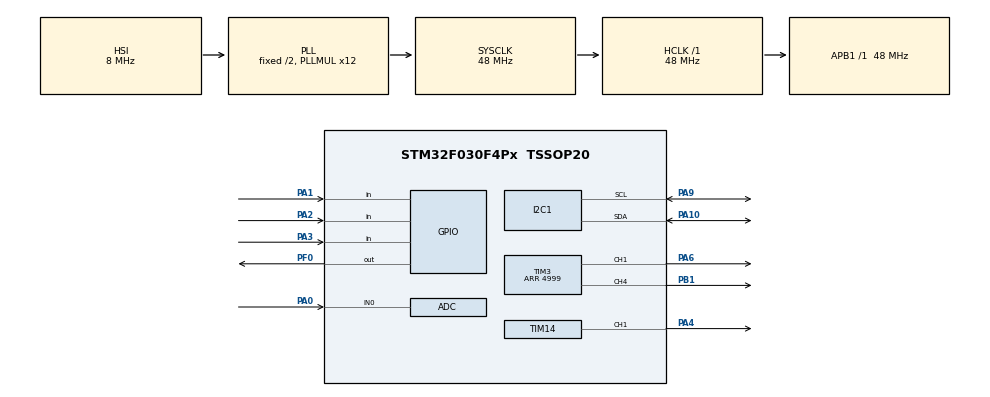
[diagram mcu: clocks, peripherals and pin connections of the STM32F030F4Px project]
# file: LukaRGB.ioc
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Mcu.Family=STM32F0
Mcu.Name=STM32F030F4Px
Mcu.Package=TSSOP20
NVIC.ADC1_IRQn=true\:0\:0\:false\:false\:true\:true\:true\:true
NVIC.I2C1_IRQn=true\:0\:0\:false\:false\:true\:true\:true\:true
NVIC.TIM14_IRQn=true\:0\:0\:false\:false\:true\:true\:true\:true
NVIC.TIM3_IRQn=true\:0\:0\:false\:false\:true\:true\:true\:true
PA0.Mode=IN0
PA0.Signal=ADC_IN0
PA1.Signal=GPIO_Input
PA10.Mode=I2C
PA10.Signal=I2C1_SDA
PA13.Mode=Serial_Wire
PA13.Signal=SYS_SWDIO
PA14.Mode=Serial_Wire
PA14.Signal=SYS_SWCLK
PA2.Signal=GPIO_Input
PA3.Signal=GPIO_Input
PA4.Signal=S_TIM14_CH1
PA6.Signal=S_TIM3_CH1
PA9.Mode=I2C
PA9.Signal=I2C1_SCL
PB1.Signal=S_TIM3_CH4
PF0-OSC_IN.PinState=GPIO_PIN_SET
PF0-OSC_IN.Signal=GPIO_Output
ProjectManager.HeapSize=0x200
ProjectManager.StackSize=0x400
ProjectManager.TargetToolchain=MDK-ARM V5.32
RCC.AHBFreq_Value=48000000
RCC.APB1Freq_Value=48000000
RCC.APB1TimFreq_Value=48000000
RCC.HCLKFreq_Value=48000000
RCC.PLLMUL=RCC_PLL_MUL12
RCC.SYSCLKFreq_VALUE=48000000
RCC.SYSCLKSource=RCC_SYSCLKSOURCE_PLLCLK
SH.S_TIM14_CH1.0=TIM14_CH1,PWM Generation1 CH1
SH.S_TIM3_CH1.0=TIM3_CH1,PWM Generation1 CH1
SH.S_TIM3_CH4.0=TIM3_CH4,PWM Generation4 CH4
TIM14.Channel=TIM_CHANNEL_1
TIM14.Period=4999
TIM14.Pulse=0
TIM3.Channel-PWM\ Generation1\ CH1=TIM_CHANNEL_1
TIM3.Channel-PWM\ Generation4\ CH4=TIM_CHANNEL_4
TIM3.Period=4999
TIM3.Pulse-PWM\ Generation1\ CH1=0
TIM3.Pulse-PWM\ Generation4\ CH4=0
VP_TIM14_VS_ClockSourceINT.Mode=Enable_Timer
VP_TIM3_VS_ClockSourceINT.Mode=Internal
board=custom

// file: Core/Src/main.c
/* USER CODE BEGIN Header */
/**
  ******************************************************************************
  * @file           : main.c
  * @brief          : Main program body
  ******************************************************************************
  * @attention
  *
  * Copyright (c) 2023 STMicroelectronics.
  * All rights reserved.
  *
  * This software is licensed under terms that can be found in the LICENSE file
  * in the root directory of this software component.
  * If no LICENSE file comes with this software, it is provided AS-IS.
  *
  ******************************************************************************
  */
/* USER CODE END Header */
#include "main.h"
#include "adc.h"
#include "i2c.h"
#include "tim.h"
#include "gpio.h"

void SystemClock_Config(void);

/* USER CODE BEGIN 0 */
uint8_t Key_Scan(GPIO_TypeDef *GPIOx,uint16_t GPIO_PIN)
{
    if (HAL_GPIO_ReadPin(GPIOx,GPIO_PIN) == 1)
    {
        /* code */
//        while (HAL_GPIO_ReadPin(GPIOx,GPIO_PIN) == 1);
        return 1;
    }
    else
    {
        return 0;
    }
}

/* USER CODE END 0 */

int main(void)
{

  /* MCU Configuration--------------------------------------------------------*/

  /* Reset of all peripherals, Initializes the Flash interface and the Systick. */
  HAL_Init();

  /* Configure the system clock */
  SystemClock_Config();

  /* Initialize all configured peripherals */
  MX_GPIO_Init();
  MX_ADC_Init();
  MX_I2C1_Init();
  MX_TIM3_Init();
  MX_TIM14_Init();
  /* USER CODE BEGIN 2 */
	HAL_TIM_PWM_Start(&htim3,TIM_CHANNEL_1);
	HAL_TIM_PWM_Start(&htim3,TIM_CHANNEL_4);
	HAL_TIM_PWM_Start(&htim14,TIM_CHANNEL_1);
  HAL_GPIO_WritePin(GPIOF, GPIO_PIN_0, GPIO_PIN_SET);
	uint8_t 	i=0;
	uint8_t 	flaga=1;
  /* USER CODE END 2 */

  /* Infinite loop */
  while (1)
  {

    /* USER CODE BEGIN 3 */

//		 __HAL_TIM_SetCompare(&htim3, TIM_CHANNEL_1, i);    //修改比较值，修改占空比
//		 __HAL_TIM_SetCompare(&htim3, TIM_CHANNEL_4, i);    //修改比较值，修改占空比
//		 __HAL_TIM_SetCompare(&htim14, TIM_CHANNEL_1, i);    //修改比较值，修改占空比

        if (Key_Scan(GPIOA, GPIO_PIN_1) == 1)
        {
					HAL_Delay(200);
					if (Key_Scan(GPIOA, GPIO_PIN_2) == 1)
					{
						i++;
						if(i<1)i=0;
					}
					else if(Key_Scan(GPIOA, GPIO_PIN_2) == 0)
					{
						i--;
						if(i<1)i=0;
					}

				 __HAL_TIM_SetCompare(&htim3, TIM_CHANNEL_1, 100*i);    //修改比较值，修改占空比
				 __HAL_TIM_SetCompare(&htim3, TIM_CHANNEL_4, 100*i);    //修改比较值，修改占空比
				 __HAL_TIM_SetCompare(&htim14, TIM_CHANNEL_1, 100*i);    //修改比较值，修改占空比

        }
         if (Key_Scan(GPIOA, GPIO_PIN_2) == 1)
        {
					HAL_Delay(200);
					if (Key_Scan(GPIOA, GPIO_PIN_2) == 1)
					{

								if(flaga==0)
								{
					 __HAL_TIM_SetCompare(&htim3, TIM_CHANNEL_1, 0);    //修改比较值，修改占空比
					 __HAL_TIM_SetCompare(&htim3, TIM_CHANNEL_4, 154);    //修改比较值，修改占空比
					 __HAL_TIM_SetCompare(&htim14, TIM_CHANNEL_1, 3);    //修改比较值，修改占空比
									flaga=1;
									}
								else if(flaga==1)
								{
					 __HAL_TIM_SetCompare(&htim3, TIM_CHANNEL_1, 0);    //修改比较值，修改占空比
					 __HAL_TIM_SetCompare(&htim3, TIM_CHANNEL_4, 0);    //修改比较值，修改占空比
					 __HAL_TIM_SetCompare(&htim14, TIM_CHANNEL_1, 200);    //修改比较值，修改占空比
									flaga=2;
									}
								else if(flaga==2)
								{
					 __HAL_TIM_SetCompare(&htim3, TIM_CHANNEL_1, 217);    //修改比较值，修改占空比
					 __HAL_TIM_SetCompare(&htim3, TIM_CHANNEL_4, 25);    //修改比较值，修改占空比
					 __HAL_TIM_SetCompare(&htim14, TIM_CHANNEL_1, 15);    //修改比较值，修改占空比
									flaga=3;
								}
								else if(flaga==3)
								{
					 __HAL_TIM_SetCompare(&htim3, TIM_CHANNEL_1, 200);    //修改比较值，修改占空比
					 __HAL_TIM_SetCompare(&htim3, TIM_CHANNEL_4, 200);    //修改比较值，修改占空比
					 __HAL_TIM_SetCompare(&htim14, TIM_CHANNEL_1,200);    //修改比较值，修改占空比
									flaga=4;
								}
								else if(flaga==4)
								{
					 __HAL_TIM_SetCompare(&htim3, TIM_CHANNEL_1, 0);    //修改比较值，修改占空比
					 __HAL_TIM_SetCompare(&htim3, TIM_CHANNEL_4, 0);    //修改比较值，修改占空比
					 __HAL_TIM_SetCompare(&htim14, TIM_CHANNEL_1, 0);    //修改比较值，修改占空比
									flaga=0;
								}

					}
        }

				 if (Key_Scan(GPIOA, GPIO_PIN_3) == 1)
        {
					HAL_Delay(200);
					if (Key_Scan(GPIOA, GPIO_PIN_3) == 1)
					{
						i--;
						if(i<1)i=0;
					}
     __HAL_TIM_SetCompare(&htim3, TIM_CHANNEL_1, 1);    //修改比较值，修改占空比
		 __HAL_TIM_SetCompare(&htim3, TIM_CHANNEL_4, 1);    //修改比较值，修改占空比
		 __HAL_TIM_SetCompare(&htim14, TIM_CHANNEL_1, 1);    //修改比较值，修改占空比
        }

//				else
//				{
//		 __HAL_TIM_SetCompare(&htim3, TIM_CHANNEL_1, 2000);    //修改比较值，修改占空比
//		 __HAL_TIM_SetCompare(&htim3, TIM_CHANNEL_4, 2000);    //修改比较值，修改占空比
//		 __HAL_TIM_SetCompare(&htim14, TIM_CHANNEL_1, 2000);    //修改比较值，修改占空比
//				}

  }
  /* USER CODE END 3 */
}

void SystemClock_Config(void)
{
  RCC_OscInitTypeDef RCC_OscInitStruct = {0};
  RCC_ClkInitTypeDef RCC_ClkInitStruct = {0};
  RCC_PeriphCLKInitTypeDef PeriphClkInit = {0};

  /** Initializes the RCC Oscillators according to the specified parameters
  * in the RCC_OscInitTypeDef structure.
  */
  RCC_OscInitStruct.OscillatorType = RCC_OSCILLATORTYPE_HSI|RCC_OSCILLATORTYPE_HSI14;
  RCC_OscInitStruct.HSIState = RCC_HSI_ON;
  RCC_OscInitStruct.HSI14State = RCC_HSI14_ON;
  RCC_OscInitStruct.HSICalibrationValue = RCC_HSICALIBRATION_DEFAULT;
  RCC_OscInitStruct.HSI14CalibrationValue = 16;
  RCC_OscInitStruct.PLL.PLLState = RCC_PLL_ON;
  RCC_OscInitStruct.PLL.PLLSource = RCC_PLLSOURCE_HSI;
  RCC_OscInitStruct.PLL.PLLMUL = RCC_PLL_MUL12;
  RCC_OscInitStruct.PLL.PREDIV = RCC_PREDIV_DIV1;
  if (HAL_RCC_OscConfig(&RCC_OscInitStruct) != HAL_OK)
  {
    Error_Handler();
  }

  /** Initializes the CPU, AHB and APB buses clocks
  */
  RCC_ClkInitStruct.ClockType = RCC_CLOCKTYPE_HCLK|RCC_CLOCKTYPE_SYSCLK
                              |RCC_CLOCKTYPE_PCLK1;
  RCC_ClkInitStruct.SYSCLKSource = RCC_SYSCLKSOURCE_PLLCLK;
  RCC_ClkInitStruct.AHBCLKDivider = RCC_SYSCLK_DIV1;
  RCC_ClkInitStruct.APB1CLKDivider = RCC_HCLK_DIV1;

  if (HAL_RCC_ClockConfig(&RCC_ClkInitStruct, FLASH_LATENCY_1) != HAL_OK)
  {
    Error_Handler();
  }
  PeriphClkInit.PeriphClockSelection = RCC_PERIPHCLK_I2C1;
  PeriphClkInit.I2c1ClockSelection = RCC_I2C1CLKSOURCE_HSI;
  if (HAL_RCCEx_PeriphCLKConfig(&PeriphClkInit) != HAL_OK)
  {
    Error_Handler();
  }
}

void Error_Handler(void)
{
  __disable_irq();
  while (1)
  {
  }
}
